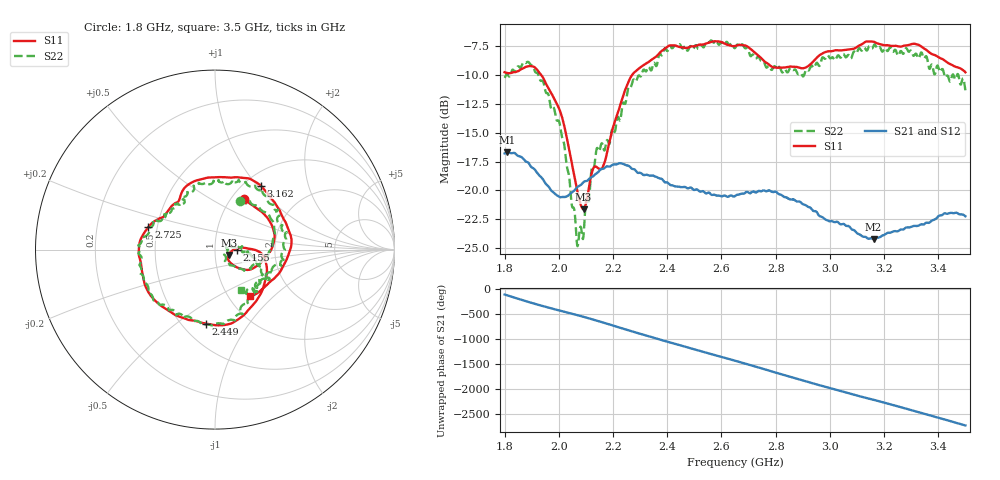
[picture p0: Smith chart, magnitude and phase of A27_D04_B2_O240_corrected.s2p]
! Created with skrf 1.9.0 (http://scikit-rf.org).
# Hz S RI R 50.0
!freq ReS11 ImS11 ReS21 ImS21 ReS12 ImS12 ReS22 ImS22
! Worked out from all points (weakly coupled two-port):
!   1601 points, 1.8 GHz to 3.5 GHz, reference 50 ohm
!   highest |S21| = -16.71 dB at 1.811 GHz (marker M1); lowest = -24.2 dB at 3.161 GHz (marker M2)
!   lowest |S11| = -21.6 dB at 2.091 GHz (marker M3), VSWR 1.18, Z = 58.3 - j3.48 ohm
!   |S11| at or under -10 dB: 1.934 GHz to 2.271 GHz (337 MHz wide, 16 % of centre)
!   |S22| runs from -24.8 to -7.0 dB; largest |S21 - S12| = 0.0023
!   S11 on the Smith chart (normalised r, x): 1.8 GHz: 1.14, +0.72; 2.155 GHz: 1.28, +0.00; 2.449 GHz: 0.65, -0.65; 2.725 GHz: 0.45, +0.13; 3.162 GHz: 1.19, +1.05; 3.5 GHz: 1.25, -0.72
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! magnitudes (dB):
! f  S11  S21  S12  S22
! 1.8 GHz  -9.8  -16.8  -16.8  -10.3
! 1.811 GHz  -9.9  -16.7  -16.7  -10.0
! 1.884 GHz  -9.3  -17.5  -17.6  -8.9
! 1.941 GHz  -10.2  -19.0  -19.0  -10.6
! 2.01 GHz  -13.6  -20.6  -20.5  -15.3
! 2.066 GHz  -19.8  -19.8  -19.8  -24.2
! 2.084 GHz  -21.4  -19.5  -19.4  -23.4
! 2.091 GHz  -21.6  -19.3  -19.3  -23.9
! 2.127 GHz  -18.1  -18.8  -18.7  -18.1
! 2.155 GHz  -18.1  -18.2  -18.2  -16.1
! 2.261 GHz  -10.4  -17.9  -17.9  -11.1
! 2.367 GHz  -8.2  -18.9  -18.9  -8.5
! 2.449 GHz  -7.6  -19.7  -19.7  -7.5
! 2.65 GHz  -7.5  -20.5  -20.4  -7.7
! 2.725 GHz  -8.1  -20.2  -20.2  -8.6
! 2.796 GHz  -9.4  -20.1  -20.1  -9.3
! 2.934 GHz  -9.0  -21.6  -21.6  -9.2
! 3.161 GHz  -7.2  -24.2  -24.1  -7.5
! 3.162 GHz  -7.2  -24.2  -24.1  -7.5
! 3.217 GHz  -7.5  -23.6  -23.6  -7.8
! 3.323 GHz  -7.4  -23.1  -23.0  -8.4
! 3.5 GHz  -9.8  -22.2  -22.2  -11.4
